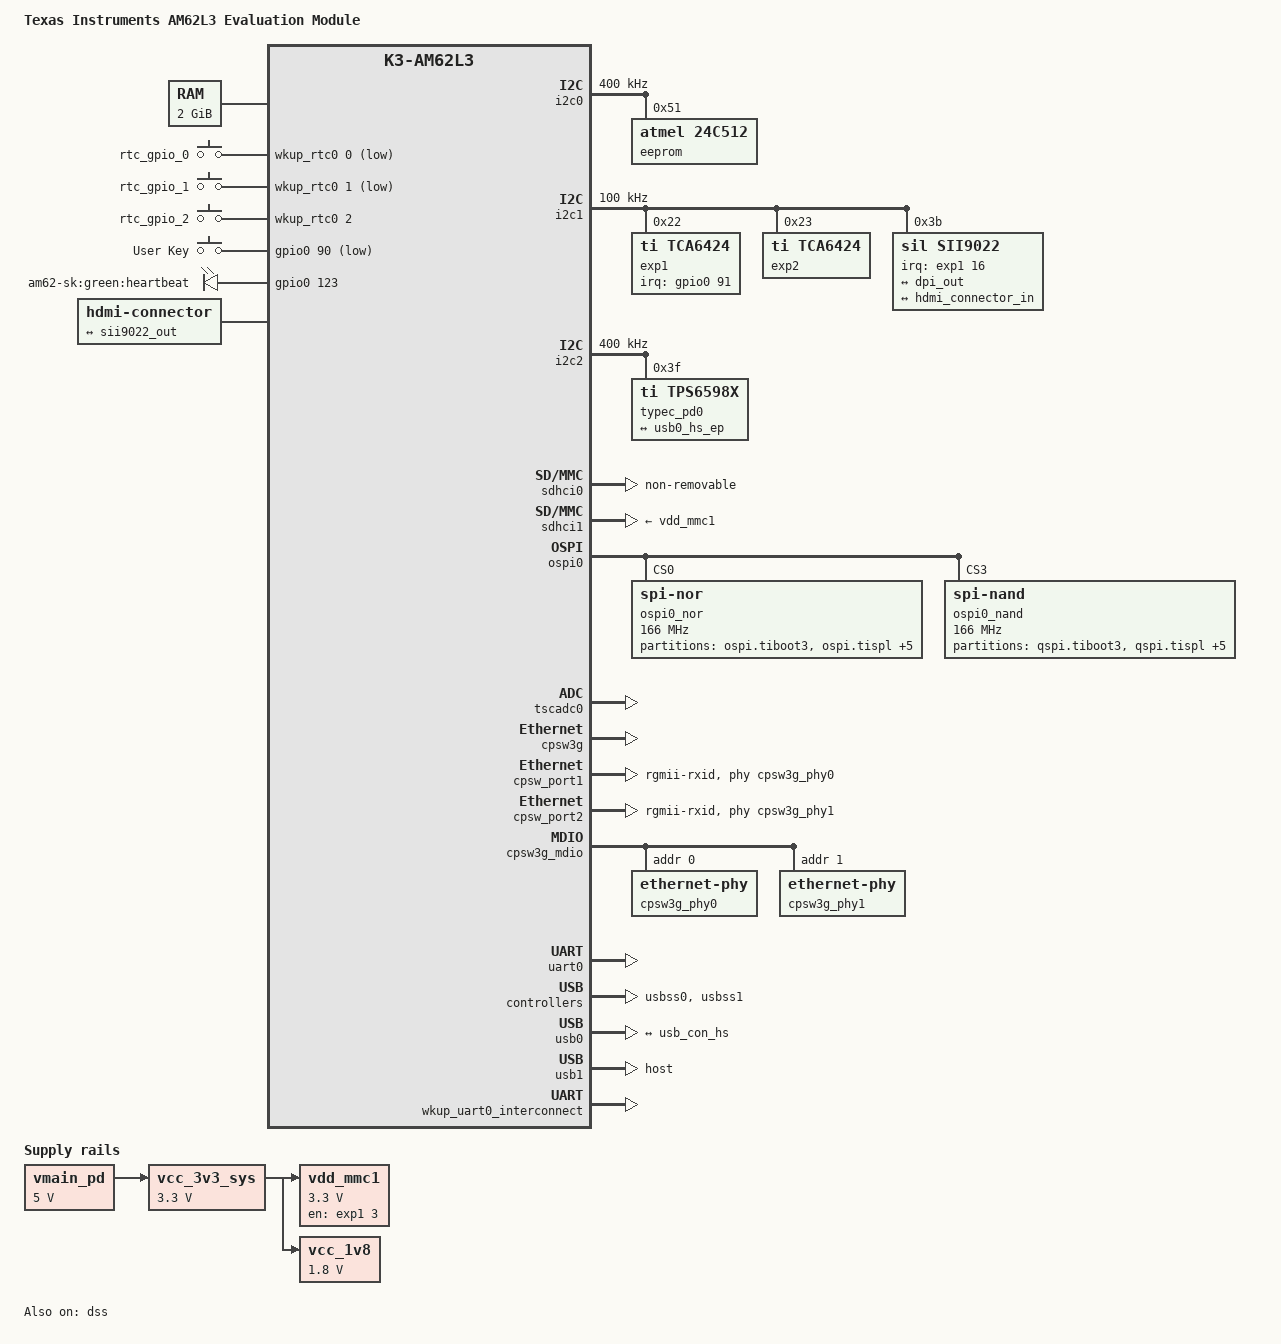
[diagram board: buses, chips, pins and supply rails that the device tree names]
// SPDX-License-Identifier: GPL-2.0-only or MIT
/*
 * Device Tree file for the AM62L3 Evaluation Module
 * Copyright (C) 2025 Texas Instruments Incorporated - https://www.ti.com/
 *
 * Technical Reference Manual: https://www.ti.com/lit/pdf/sprujb4
 * Data Sheet: https://www.ti.com/lit/pdf/sprspa1
 */

/dts-v1/;

#include <dt-bindings/gpio/gpio.h>
#include <dt-bindings/input/input.h>
#include <dt-bindings/leds/common.h>
#include <dt-bindings/net/ti-dp83867.h>
#include <dt-bindings/thermal/thermal.h>
#include "k3-am62l3.dtsi"
#include "k3-pinctrl.h"

/ {
	compatible = "ti,am62l3-evm", "ti,am62l3";
	model = "Texas Instruments AM62L3 Evaluation Module";

	chosen {
		stdout-path = &uart0;
	};

	memory@80000000 {
		reg = <0x00000000 0x80000000 0x00000000 0x80000000>;
		device_type = "memory";
		bootph-all;
	};

	rtc_gpio0 {
		compatible = "gpio-keys";
		button-rtc0 {
			label = "rtc_gpio_0";
			wakeup-source;
			linux,code = <KEY_WAKEUP>;
			gpios = <&wkup_rtc0 0 GPIO_ACTIVE_LOW>;
		};
	};

	rtc_gpio1 {
		compatible = "gpio-keys";
		button-rtc1 {
			label = "rtc_gpio_1";
			wakeup-source;
			linux,code = <KEY_WAKEUP>;
			gpios = <&wkup_rtc0 1 GPIO_ACTIVE_LOW>;
		};
	};

	rtc_gpio2 {
		compatible = "gpio-keys";
		button-rtc2 {
			label = "rtc_gpio_2";
			wakeup-source;
			linux,code = <KEY_WAKEUP>;
			gpios = <&wkup_rtc0 2 GPIO_ACTIVE_HIGH>;
		};
	};

	gpio_keys: gpio-keys {
		compatible = "gpio-keys";
		autorepeat;
		pinctrl-names = "default";
		pinctrl-0 = <&usr_button_pins_default>;

		usr: button-usr {
			label = "User Key";
			linux,code = <BTN_0>;
			gpios = <&gpio0 90 GPIO_ACTIVE_LOW>;
			interrupts-extended = <&gpio0 90 IRQ_TYPE_EDGE_RISING>,
				<&pmx0 0x01ac>;
			interrupt-names = "irq", "wakeup";
		};
	};

	leds {
		compatible = "gpio-leds";
		pinctrl-names = "default";
		pinctrl-0 = <&usr_led_pins_default>;

		led-0 {
			label = "am62-sk:green:heartbeat";
			gpios = <&gpio0 123 GPIO_ACTIVE_HIGH>;
			linux,default-trigger = "heartbeat";
			function = LED_FUNCTION_HEARTBEAT;
			default-state = "on";
		};
	};


	thermal-zones {
		wkup0-thermal {
			polling-delay-passive = <250>;	/* milliSeconds */
			polling-delay = <500>;		/* milliSeconds */
			thermal-sensors = <&vtm0 0>;

			trips {
				crit0 {
					temperature = <125000>;
					hysteresis = <2000>;
					type = "critical";
				};
			};
		};
	};

	vmain_pd: regulator-0 {
		/* TPS65988 PD CONTROLLER OUTPUT */
		compatible = "regulator-fixed";
		regulator-name = "vmain_pd";
		regulator-min-microvolt = <5000000>;
		regulator-max-microvolt = <5000000>;
		regulator-always-on;
		regulator-boot-on;
		bootph-all;
	};

	vcc_3v3_sys: regulator-1 {
		/* output of LM61460-Q1 */
		compatible = "regulator-fixed";
		regulator-name = "vcc_3v3_sys";
		regulator-min-microvolt = <3300000>;
		regulator-max-microvolt = <3300000>;
		vin-supply = <&vmain_pd>;
		regulator-always-on;
		regulator-boot-on;
	};

	vdd_mmc1: regulator-2 {
		/* TPS22918DBVR */
		compatible = "regulator-fixed";
		regulator-name = "vdd_mmc1";
		regulator-min-microvolt = <3300000>;
		regulator-max-microvolt = <3300000>;
		regulator-boot-on;
		enable-active-high;
		vin-supply = <&vcc_3v3_sys>;
		gpio = <&exp1 3 GPIO_ACTIVE_HIGH>;
		bootph-all;
	};

	vcc_1v8: regulator-3 {
		/* output of TPS6282518DMQ */
		compatible = "regulator-fixed";
		regulator-name = "vcc_1v8";
		regulator-min-microvolt = <1800000>;
		regulator-max-microvolt = <1800000>;
		vin-supply = <&vcc_3v3_sys>;
		regulator-always-on;
		regulator-boot-on;
	};

	hdmi0: connector-hdmi {
		compatible = "hdmi-connector";
		label = "hdmi";
		type = "a";

		port {
			hdmi_connector_in: endpoint {
				remote-endpoint = <&sii9022_out>;
			};
		};
	};
};

&gpio0 {
	bootph-all;
};

&i2c0 {
	pinctrl-names = "default";
	pinctrl-0 = <&i2c0_pins_default>;
	clock-frequency = <400000>;
	status = "okay";

	eeprom@51 {
		/* AT24C512C-MAHM-T or M24512-DFMC6TG */
		compatible = "atmel,24c512";
		reg = <0x51>;
	};
};

&i2c1 {
	pinctrl-names = "default";
	pinctrl-0 = <&i2c1_pins_default>;
	clock-frequency = <100000>;
	status = "okay";

	exp1: gpio@22 {
		compatible = "ti,tca6424";
		reg = <0x22>;
		gpio-controller;
		#gpio-cells = <2>;
		gpio-line-names = "", "",
				  "UART1_FET_SEL", "MMC1_SD_EN",
				  "VPP_LDO_EN", "EXP_PS_3V3_EN",
				  "UART1_FET_BUF_EN", "", "",
				  "", "DSI_GPIO0", "DSI_GPIO1",
				  "", "BT_UART_WAKE_SOC_3V3",
				  "USB_TYPEA_OC_INDICATION", "",
				  "", "WLAN_ALERTn", "", "",
				  "HDMI_INTn", "TEST_GPIO2",
				  "MCASP0_FET_EN", "MCASP0_BUF_BT_EN",
				  "MCASP0_FET_SEL", "DSI_EDID",
				  "PD_I2C_IRQ", "IO_EXP_TEST_LED";

		interrupt-parent = <&gpio0>;
		interrupts = <91 IRQ_TYPE_EDGE_FALLING>;
		interrupt-controller;
		#interrupt-cells = <2>;

		pinctrl-names = "default";
		pinctrl-0 = <&gpio0_ioexp_intr_pins_default>;
		bootph-all;
	};

	exp2: gpio@23 {
		compatible = "ti,tca6424";
		reg = <0x23>;
		gpio-controller;
		#gpio-cells = <2>;
		gpio-line-names = "BT_EN_SOC", "VOUT0_FET_SEL0",
				  "", "",
				  "", "",
				  "", "",
				  "WL_LT_EN", "EXP_PS_5V0_EN",
				  "TP45", "TP48",
				  "TP46", "TP49",
				  "TP47", "TP50",
				  "GPIO_QSPI_NAND_RSTn", "GPIO_HDMI_RSTn",
				  "GPIO_CPSW1_RST", "GPIO_CPSW2_RST",
				  "", "GPIO_AUD_RSTn",
				  "GPIO_eMMC_RSTn", "SoC_WLAN_SDIO_RST";
		bootph-all;
	};

	sii9022: bridge-hdmi@3b {
		compatible = "sil,sii9022";
		reg = <0x3b>;
		interrupt-parent = <&exp1>;
		interrupts = <16 IRQ_TYPE_EDGE_FALLING>;
		#sound-dai-cells = <0>;
		sil,i2s-data-lanes = < 0 >;
		pinctrl-names = "default";
		pinctrl-0 = <&dpi_pins_default>;
		bootph-all;

		ports {
			#address-cells = <1>;
			#size-cells = <0>;

			port@0 {
				reg = <0>;

				sii9022_in: endpoint {
					remote-endpoint = <&dpi_out>;
				};
			};

			port@1 {
				reg = <1>;

				sii9022_out: endpoint {
					remote-endpoint = <&hdmi_connector_in>;
				};
			};
		};
	};
};

&i2c2 {
	pinctrl-names = "default";
	pinctrl-0 = <&i2c2_pins_default>;
	clock-frequency = <400000>;
	status = "okay";

	typec_pd0: tps658x@3f {
		compatible = "ti,tps6598x";
		reg = <0x3f>;

		connector {
			compatible = "usb-c-connector";
			label = "USB-C";
			self-powered;
			data-role = "dual";
			power-role = "sink";

			port {
				usb_con_hs: endpoint {
					remote-endpoint = <&usb0_hs_ep>;
				};
			};
		};
	};
};

&pmx0 {
	gpio0_ioexp_intr_pins_default: gpio0-ioexp-intr-default-pins {
		pinctrl-single,pins = <
			AM62LX_IOPAD(0x01b0, PIN_INPUT, 7) /* (B12) SPI0_D1.GPIO0_91 */
		>;
		bootph-all;
	};

	i2c0_pins_default: i2c0-default-pins {
		pinctrl-single,pins = <
			AM62LX_IOPAD(0x01cc, PIN_INPUT_PULLUP, 0) /* (B7) I2C0_SCL */
			AM62LX_IOPAD(0x01d0, PIN_INPUT_PULLUP, 0) /* (A7) I2C0_SDA */
		>;
		bootph-all;
	};

	i2c1_pins_default: i2c1-default-pins {
		pinctrl-single,pins = <
			AM62LX_IOPAD(0x01d4, PIN_INPUT_PULLUP, 0) /* (D7) I2C1_SCL */
			AM62LX_IOPAD(0x01d8, PIN_INPUT_PULLUP, 0) /* (A6) I2C1_SDA */
		>;
		bootph-all;
	};

	i2c2_pins_default: i2c2-default-pins {
		pinctrl-single,pins = <
			AM62LX_IOPAD(0x01dc, PIN_INPUT_PULLUP, 0) /* (B8) I2C2_SCL */
			AM62LX_IOPAD(0x01e0, PIN_INPUT_PULLUP, 0) /* (D8) I2C2_SDA */
		>;
	};

	ospi0_pins_default: ospi0-default-pins {
		bootph-all;
		pinctrl-single,pins = <
			AM62LX_IOPAD(0x003c, PIN_OUTPUT, 0) /* (D22) OSPI0_CLK */
			AM62LX_IOPAD(0x0068, PIN_OUTPUT, 0) /* (C20) OSPI0_CSn0 */
			AM62LX_IOPAD(0x0074, PIN_OUTPUT, 0) /* (C23) OSPI0_CSn3 */
			AM62LX_IOPAD(0x0048, PIN_INPUT, 0) /* (C22) OSPI0_D0 */
			AM62LX_IOPAD(0x004c, PIN_INPUT, 0) /* (D21) OSPI0_D1 */
			AM62LX_IOPAD(0x0050, PIN_INPUT, 0) /* (E23) OSPI0_D2 */
			AM62LX_IOPAD(0x0054, PIN_INPUT, 0) /* (D23) OSPI0_D3 */
			AM62LX_IOPAD(0x0058, PIN_INPUT, 0) /* (F21) OSPI0_D4 */
			AM62LX_IOPAD(0x005c, PIN_INPUT, 0) /* (F19) OSPI0_D5 */
			AM62LX_IOPAD(0x0060, PIN_INPUT, 0) /* (G20) OSPI0_D6 */
			AM62LX_IOPAD(0x0064, PIN_INPUT, 0) /* (F20) OSPI0_D7 */
			AM62LX_IOPAD(0x0044, PIN_INPUT, 0) /* (E22) OSPI0_DQS */
			AM62LX_IOPAD(0x0040, PIN_INPUT, 0) /* (E18) OSPI0_LBCLKO */
		>;
	};

	mmc0_pins_default: mmc0-default-pins {
		pinctrl-single,pins = <
			AM62LX_IOPAD(0x0214, PIN_INPUT, 0) /* (D2) MMC0_CMD */
			AM62LX_IOPAD(0x020c, PIN_OUTPUT, 0) /* (B2) MMC0_CLK */
			AM62LX_IOPAD(0x0208, PIN_INPUT, 0) /* (D3) MMC0_DAT0 */
			AM62LX_IOPAD(0x0204, PIN_INPUT_PULLUP, 0) /* (D4) MMC0_DAT1 */
			AM62LX_IOPAD(0x0200, PIN_INPUT_PULLUP, 0) /* (C1) MMC0_DAT2 */
			AM62LX_IOPAD(0x01fc, PIN_INPUT_PULLUP, 0) /* (C2) MMC0_DAT3 */
			AM62LX_IOPAD(0x01f8, PIN_INPUT_PULLUP, 0) /* (C4) MMC0_DAT4 */
			AM62LX_IOPAD(0x01f4, PIN_INPUT_PULLUP, 0) /* (B3) MMC0_DAT5 */
			AM62LX_IOPAD(0x01f0, PIN_INPUT_PULLUP, 0) /* (A3) MMC0_DAT6 */
			AM62LX_IOPAD(0x01ec, PIN_INPUT_PULLUP, 0) /* (B4) MMC0_DAT7 */
		>;
		bootph-all;
	};

	mmc1_pins_default: mmc1-default-pins {
		pinctrl-single,pins = <
			AM62LX_IOPAD(0x0230, PIN_INPUT, 0) /* (Y3) MMC1_CMD */
			AM62LX_IOPAD(0x0228, PIN_OUTPUT, 0) /* (Y2) MMC1_CLK */
			AM62LX_IOPAD(0x0224, PIN_INPUT, 0) /* (AA1) MMC1_DAT0 */
			AM62LX_IOPAD(0x0220, PIN_INPUT, 0) /* (Y4) MMC1_DAT1 */
			AM62LX_IOPAD(0x021c, PIN_INPUT, 0) /* (AA2) MMC1_DAT2 */
			AM62LX_IOPAD(0x0218, PIN_INPUT, 0) /* (AB2) MMC1_DAT3 */
			AM62LX_IOPAD(0x0234, PIN_INPUT, 0) /* (B6) MMC1_SDCD */
		>;
		bootph-all;
	};

	dpi_pins_default: dpi-default-pins {
		pinctrl-single,pins = <
			AM62LX_IOPAD(0x00e4, PIN_OUTPUT, 1) /* (L20) GPMC0_CSn0.VOUT0_VSYNC */
			AM62LX_IOPAD(0x00dc, PIN_OUTPUT, 1) /* (N21) GPMC0_WPn.VOUT0_HSYNC */
			AM62LX_IOPAD(0x00e8, PIN_OUTPUT, 1) /* (L19) GPMC0_CSn1.VOUT0_PCLK */
			AM62LX_IOPAD(0x00e0, PIN_OUTPUT, 1) /* (M21) GPMC0_DIR.VOUT0_DE */
			AM62LX_IOPAD(0x0078, PIN_OUTPUT, 1) /* (L22) GPMC0_AD0.VOUT0_DATA0 */
			AM62LX_IOPAD(0x007c, PIN_OUTPUT, 1) /* (L23) GPMC0_AD1.VOUT0_DATA1 */
			AM62LX_IOPAD(0x0080, PIN_OUTPUT, 1) /* (K22) GPMC0_AD2.VOUT0_DATA2 */
			AM62LX_IOPAD(0x0084, PIN_OUTPUT, 1) /* (J23) GPMC0_AD3.VOUT0_DATA3 */
			AM62LX_IOPAD(0x0088, PIN_OUTPUT, 1) /* (K23) GPMC0_AD4.VOUT0_DATA4 */
			AM62LX_IOPAD(0x008c, PIN_OUTPUT, 1) /* (H22) GPMC0_AD5.VOUT0_DATA5 */
			AM62LX_IOPAD(0x0090, PIN_OUTPUT, 1) /* (H23) GPMC0_AD6.VOUT0_DATA6 */
			AM62LX_IOPAD(0x0094, PIN_OUTPUT, 1) /* (J22) GPMC0_AD7.VOUT0_DATA7 */
			AM62LX_IOPAD(0x0098, PIN_OUTPUT, 1) /* (H19) GPMC0_AD8.VOUT0_DATA8 */
			AM62LX_IOPAD(0x009c, PIN_OUTPUT, 1) /* (H20) GPMC0_AD9.VOUT0_DATA9 */
			AM62LX_IOPAD(0x00a0, PIN_OUTPUT, 1) /* (H21) GPMC0_AD10.VOUT0_DATA10 */
			AM62LX_IOPAD(0x00a4, PIN_OUTPUT, 1) /* (H18) GPMC0_AD11.VOUT0_DATA11 */
			AM62LX_IOPAD(0x00a8, PIN_OUTPUT, 1) /* (G23) GPMC0_AD12.VOUT0_DATA12 */
			AM62LX_IOPAD(0x00ac, PIN_OUTPUT, 1) /* (G22) GPMC0_AD13.VOUT0_DATA13 */
			AM62LX_IOPAD(0x00b0, PIN_OUTPUT, 1) /* (F22) GPMC0_AD14.VOUT0_DATA14 */
			AM62LX_IOPAD(0x00b4, PIN_OUTPUT, 1) /* (F23) GPMC0_AD15.VOUT0_DATA15 */
			AM62LX_IOPAD(0x00b8, PIN_OUTPUT, 1) /* (L21) GPMC0_CLK.VOUT0_DATA16 */
			AM62LX_IOPAD(0x00c0, PIN_OUTPUT, 1) /* (N19) GPMC0_ADVn_ALE.VOUT0_DATA17 */
			AM62LX_IOPAD(0x00c4, PIN_OUTPUT, 1) /* (N20) GPMC0_OEn_REn.VOUT0_DATA18 */
			AM62LX_IOPAD(0x00c8, PIN_OUTPUT, 1) /* (M19) GPMC0_WEn.VOUT0_DATA19 */
			AM62LX_IOPAD(0x00cc, PIN_OUTPUT, 1) /* (P23) GPMC0_BE0n_CLE.VOUT0_DATA20 */
			AM62LX_IOPAD(0x00d0, PIN_OUTPUT, 1) /* (P22) GPMC0_BE1n.VOUT0_DATA21 */
			AM62LX_IOPAD(0x00d4, PIN_OUTPUT, 1) /* (N23) GPMC0_WAIT0.VOUT0_DATA22 */
			AM62LX_IOPAD(0x00d8, PIN_OUTPUT, 1) /* (N22) GPMC0_WAIT1.VOUT0_DATA23 */
			AM62LX_IOPAD(0x00ec, PIN_OUTPUT, 5) /* (M23) GPMC0_CSn2.VOUT0_EXTPCLKIN */
		>;
		bootph-all;
	};

	rgmii1_pins_default: rgmii1-default-pins {
		pinctrl-single,pins = <
			AM62LX_IOPAD(0x0138, PIN_INPUT, 0) /* (Y8) RGMII1_RD0 */
			AM62LX_IOPAD(0x013c, PIN_INPUT, 0) /* (AA6) RGMII1_RD1 */
			AM62LX_IOPAD(0x0140, PIN_INPUT, 0) /* (AA8) RGMII1_RD2 */
			AM62LX_IOPAD(0x0144, PIN_INPUT, 0) /* (W8) RGMII1_RD3 */
			AM62LX_IOPAD(0x0134, PIN_INPUT, 0) /* (Y7) RGMII1_RXC */
			AM62LX_IOPAD(0x0130, PIN_INPUT, 0) /* (Y6) RGMII1_RX_CTL */
			AM62LX_IOPAD(0x0120, PIN_OUTPUT, 0) /* (AC10) RGMII1_TD0 */
			AM62LX_IOPAD(0x0124, PIN_OUTPUT, 0) /* (W13) RGMII1_TD1 */
			AM62LX_IOPAD(0x0128, PIN_OUTPUT, 0) /* (Y11) RGMII1_TD2 */
			AM62LX_IOPAD(0x012c, PIN_OUTPUT, 0) /* (AA11) RGMII1_TD3 */
			AM62LX_IOPAD(0x011c, PIN_OUTPUT, 0) /* (W11) RGMII1_TXC */
			AM62LX_IOPAD(0x0118, PIN_OUTPUT, 0) /* (AB11) RGMII1_TX_CTL */
		>;
	};

	rgmii2_pins_default: rgmii2-default-pins {
		pinctrl-single,pins = <
			AM62LX_IOPAD(0x0170, PIN_INPUT, 0) /* (AB9) RGMII2_RD0 */
			AM62LX_IOPAD(0x0174, PIN_INPUT, 0) /* (AC9) RGMII2_RD1 */
			AM62LX_IOPAD(0x0178, PIN_INPUT, 0) /* (AB10) RGMII2_RD2 */
			AM62LX_IOPAD(0x017c, PIN_INPUT, 0) /* (AB8) RGMII2_RD3 */
			AM62LX_IOPAD(0x016c, PIN_INPUT, 0) /* (AC7) RGMII2_RXC */
			AM62LX_IOPAD(0x0168, PIN_INPUT, 0) /* (AC8) RGMII2_RX_CTL */
			AM62LX_IOPAD(0x0158, PIN_OUTPUT, 0) /* (AC12) RGMII2_TD0 */
			AM62LX_IOPAD(0x015c, PIN_OUTPUT, 0) /* (AB13) RGMII2_TD1 */
			AM62LX_IOPAD(0x0160, PIN_OUTPUT, 0) /* (AA12) RGMII2_TD2 */
			AM62LX_IOPAD(0x0164, PIN_OUTPUT, 0) /* (AA13) RGMII2_TD3 */
			AM62LX_IOPAD(0x0154, PIN_OUTPUT, 0) /* (Y13) RGMII2_TXC */
			AM62LX_IOPAD(0x0150, PIN_OUTPUT, 0) /* (AB12) RGMII2_TX_CTL */
		>;
	};

	mdio1_pins_default: mdio1-default-pins {
		pinctrl-single,pins = <
			AM62LX_IOPAD(0x014c, PIN_OUTPUT, 0) /* (AC15) MDIO0_MDC */
			AM62LX_IOPAD(0x0148, PIN_INPUT, 0) /* (AC13) MDIO0_MDIO */
		>;
	};

	uart0_pins_default: uart0-default-pins {
		pinctrl-single,pins = <
			AM62LX_IOPAD(0x01b4, PIN_INPUT, 0) /* (D13) UART0_RXD */
			AM62LX_IOPAD(0x01b8, PIN_OUTPUT, 0) /* (C13) UART0_TXD */
		>;
		bootph-all;
	};

	uart0_pins_wakeup: uart0-wakeup-pins {
		pinctrl-single,pins = <
			AM62LX_IOPAD(0x01b4, PIN_INPUT | PIN_WKUP_EN, 0) /* (D13) UART0_RXD */
			AM62LX_IOPAD(0x01b8, PIN_OUTPUT, 0) /* (C13) UART0_TXD */
		>;
	};

	usb1_default_pins: usb1-default-pins {
		pinctrl-single,pins = <
			AM62LX_IOPAD(0x0248, PIN_INPUT | PIN_DS_PULLUD_ENABLE | PIN_DS_PULL_UP, 0) /* (A5) USB1_DRVVBUS */
		>;
	};

	usr_button_pins_default: usr-button-default-pins {
		pinctrl-single,pins = <
			AM62LX_IOPAD(0x01ac, PIN_INPUT, 7) /* (E12) SPI0_D0.GPIO0_90 */
		>;
	};

	usr_led_pins_default: usr-led-default-pins {
		pinctrl-single,pins = <
			AM62LX_IOPAD(0x0238, PIN_OUTPUT, 7) /* (D24) MMC1_SDWP.GPIO0_123 */
		>;
	};

	wkup_uart0_pins_default: wkup-uart0-default-pins {
		pinctrl-single,pins = <
			AM62LX_IOPAD(0x0000, PIN_INPUT, 0) /* (Y22) WKUP_UART0_RXD */
			AM62LX_IOPAD(0x0004, PIN_OUTPUT, 0) /* (AA23) WKUP_UART0_TXD */
		>;
	};
};

&sdhci0 {
	/* eMMC */
	pinctrl-names = "default";
	pinctrl-0 = <&mmc0_pins_default>;
	non-removable;
	status = "okay";
	bootph-all;
};

&sdhci1 {
	/* SD/MMC */
	pinctrl-names = "default";
	pinctrl-0 = <&mmc1_pins_default>;
	vmmc-supply = <&vdd_mmc1>;
	disable-wp;
	status = "okay";
	bootph-all;
};

&ospi0 {
	bootph-all;
	status = "okay";
	pinctrl-names = "default";
	pinctrl-0 = <&ospi0_pins_default>;

	ospi0_nor: flash@0 {
		bootph-all;
		compatible = "jedec,spi-nor";
		reg = <0x0>;
		spi-tx-bus-width = <8>;
		spi-rx-bus-width = <8>;
		spi-max-frequency = <166000000>;
		cdns,tshsl-ns = <60>;
		cdns,tsd2d-ns = <60>;
		cdns,tchsh-ns = <60>;
		cdns,tslch-ns = <60>;
		cdns,read-delay = <4>;

		partitions {
			bootph-all;
			compatible = "fixed-partitions";
			#address-cells = <1>;
			#size-cells = <1>;

			partition@0 {
				label = "ospi.tiboot3";
				reg = <0x0 0x80000>;
			};

			partition@80000 {
				label = "ospi.tispl";
				reg = <0x80000 0x200000>;
			};

			partition@280000 {
				label = "ospi.u-boot";
				reg = <0x280000 0x400000>;
			};

			partition@680000 {
				label = "ospi.env";
				reg = <0x680000 0x40000>;
			};

			partition@6c0000 {
				label = "ospi.env.backup";
				reg = <0x6c0000 0x40000>;
			};

			partition@800000 {
				label = "ospi.rootfs";
				reg = <0x800000 0x37c0000>;
			};

			partition@3fc0000 {
				bootph-all;
				label = "ospi.phypattern";
				reg = <0x3fc0000 0x40000>;
			};
		};
	};

	ospi0_nand: flash@3 {
		bootph-all;
		compatible = "spi-nand";
		reg = <0x3>;
		spi-tx-bus-width = <4>;
		spi-rx-bus-width = <4>;
		spi-max-frequency = <166000000>;
		cdns,tshsl-ns = <60>;
		cdns,tsd2d-ns = <60>;
		cdns,tchsh-ns = <60>;
		cdns,tslch-ns = <60>;
		cdns,read-delay = <2>;

		partitions {
			bootph-all;
			compatible = "fixed-partitions";
			#address-cells = <1>;
			#size-cells = <1>;

			partition@0 {
				label = "qspi.tiboot3";
				reg = <0x0 0x80000>;
			};

			partition@80000 {
				label = "qspi.tispl";
				reg = <0x80000 0x200000>;
			};

			partition@280000 {
				label = "qspi.u-boot";
				reg = <0x280000 0x400000>;
			};

			partition@680000 {
				label = "qspi.env";
				reg = <0x680000 0x40000>;
			};

			partition@6c0000 {
				label = "qspi.env.backup";
				reg = <0x6c0000 0x40000>;
			};

			partition@2000000 {
				label = "qspi.rootfs";
				reg = <0x2000000 0x5fe0000>;
			};

			partition@7fe0000 {
				bootph-all;
				label = "qspi.phypattern";
				reg = <0x7fe0000 0x20000>;
			};
		};
	};
};

&tscadc0 {
	status = "okay";

	adc {
		ti,adc-channels = <0 1 2 3>;
	};
};

&cpsw3g {
	pinctrl-names = "default";
	pinctrl-0 = <&rgmii1_pins_default>,
		    <&rgmii2_pins_default>;
	status = "okay";
};

&cpsw_port1 {
	phy-mode = "rgmii-rxid";
	phy-handle = <&cpsw3g_phy0>;
};

&cpsw_port2 {
	phy-mode = "rgmii-rxid";
	phy-handle = <&cpsw3g_phy1>;
};

&cpsw3g_mdio {
	pinctrl-names = "default";
	pinctrl-0 = <&mdio1_pins_default>;
	status = "okay";

	cpsw3g_phy0: ethernet-phy@0 {
		reg = <0>;
		ti,rx-internal-delay = <DP83867_RGMIIDCTL_2_00_NS>;
		ti,fifo-depth = <DP83867_PHYCR_FIFO_DEPTH_4_B_NIB>;
		ti,min-output-impedance;
	};

	cpsw3g_phy1: ethernet-phy@1 {
		reg = <1>;
		ti,rx-internal-delay = <DP83867_RGMIIDCTL_2_00_NS>;
		ti,fifo-depth = <DP83867_PHYCR_FIFO_DEPTH_4_B_NIB>;
		ti,min-output-impedance;
	};
};

&uart0 {
	pinctrl-0 = <&uart0_pins_default>;
	pinctrl-1 = <&uart0_pins_wakeup>;
	pinctrl-names = "default", "wakeup";
	wakeup-source;
	status = "okay";
	bootph-all;
};

&usbss0 {
	status = "okay";
	ti,vbus-divider;
};

&usb0 {
	usb-role-switch;
	bootph-all;

	port {
		usb0_hs_ep: endpoint {
			remote-endpoint = <&usb_con_hs>;
		};
	};
};

&usbss1 {
	status = "okay";
	ti,vbus-divider;
};

&usb1 {
	dr_mode = "host";
	pinctrl-names = "default";
	pinctrl-0 = <&usb1_default_pins>;
};

&dss {
	status = "okay";
	bootph-all;
};

&main_bcdma {
	bootph-all;
};

&main_pktdma {
	bootph-all;
};

&dss_ports {
	/* VP1: DPI Output */
	port@0 {
		reg = <0>;

		dpi_out: endpoint {
			remote-endpoint = <&sii9022_in>;
		};
	};
};

&wkup_uart0 {
	pinctrl-0 = <&wkup_uart0_pins_default>;
	pinctrl-names = "default";
};

&wkup_uart0_interconnect {
	status = "okay";
};

